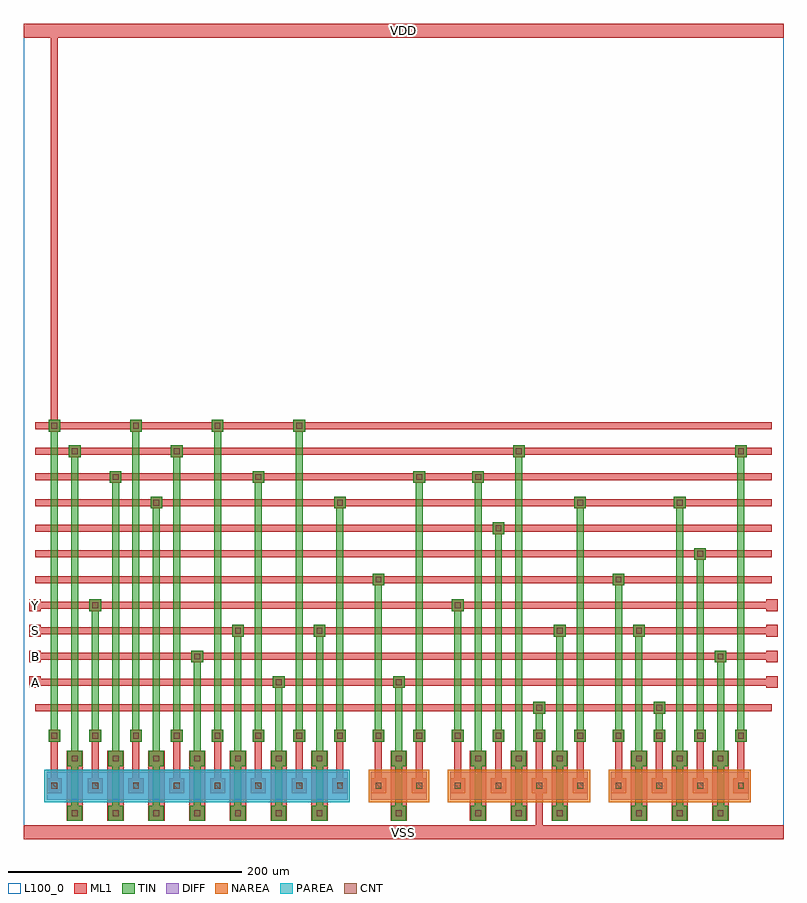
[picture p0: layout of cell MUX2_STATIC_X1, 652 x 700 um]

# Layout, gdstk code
import gdstk
lib = gdstk.Library(unit=1e-6, precision=1e-09)
def R(c, l, rs):  # rectangles x0, y0, x1, y1
    for r in rs: c.add(gdstk.rectangle(r[:2], r[2:], *l))
def A(c, l, x, y, w, h, nx, ny, dx, dy):  # array of equal rectangles
    R(c, l, [(x+i*dx, y+j*dy, x+i*dx+w, y+j*dy+h) for i in range(nx) for j in range(ny)])
DIFF = (3, 0)
TIN = (5, 0)
CNT = (7, 0)
ML1 = (8, 0)
PAREA = (18, 0)
NAREA = (19, 0)
L100_0 = (100, 0)

mux2_static_x1 = lib.new_cell('MUX2_STATIC_X1')
R(mux2_static_x1, DIFF, [(20,34,278,58), (298,34,346,58), (366,34,484,58), (504,34,622,58)])
A(mux2_static_x1, TIN, 37.5, 16, 13, 13, 7, 2, 35, 47)
A(mux2_static_x1, TIN, 383.5, 16, 13, 13, 3, 2, 35, 47)
A(mux2_static_x1, TIN, 521.5, 16, 13, 13, 3, 2, 35, 47)
A(mux2_static_x1, TIN, 41, 28, 6, 37.5, 7, 1, 35, 0)
A(mux2_static_x1, TIN, 387, 28, 6, 37.5, 3, 1, 35, 0)
A(mux2_static_x1, TIN, 525, 28, 6, 37.5, 3, 1, 35, 0)
A(mux2_static_x1, TIN, 21.5, 84, 10, 10, 8, 1, 35, 0)
A(mux2_static_x1, TIN, 367.5, 84, 10, 10, 4, 1, 35, 0)
A(mux2_static_x1, TIN, 505.5, 84, 10, 10, 4, 1, 35, 0)
A(mux2_static_x1, TIN, 23.5, 89, 6, 266, 4, 1, 70, 0)
A(mux2_static_x1, TIN, 21.5, 350, 10, 10, 4, 1, 70, 0)
R(mux2_static_x1, TIN, [(315.5,16,328.5,29), (319,28,325,65.5), (315.5,63,328.5,76), (41,69.5,47,333), (76,69.5,82,311), (111,69.5,117,289), (146,69.5,152,157), (181,69.5,187,179), (216,69.5,222,135), (251,69.5,257,179), (319,69.5,325,135), (387,69.5,393,311), (422,69.5,428,333), (457,69.5,463,179), (525,69.5,531,179), (560,69.5,566,289), (595,69.5,601,157), (299.5,84,309.5,94), (334.5,84,344.5,94), (58.5,89,64.5,201), (128.5,89,134.5,333), (198.5,89,204.5,311), (268.5,89,274.5,289), (301.5,89,307.5,223), (336.5,89,342.5,311), (369.5,89,375.5,201), (404.5,89,410.5,267), (439.5,89,445.5,113), (474.5,89,480.5,289), (507.5,89,513.5,223), (542.5,89,548.5,113), (577.5,89,583.5,245), (612.5,89,618.5,333), (437.5,108,447.5,118), (540.5,108,550.5,118), (214,130,224,140), (317,130,327,140), (144,152,154,162), (593,152,603,162), (179,174,189,184), (249,174,259,184), (455,174,465,184), (523,174,533,184), (56.5,196,66.5,206), (367.5,196,377.5,206), (299.5,218,309.5,228), (505.5,218,515.5,228), (575.5,240,585.5,250), (402.5,262,412.5,272), (109,284,119,294), (266.5,284,276.5,294), (472.5,284,482.5,294), (558,284,568,294), (74,306,84,316), (196.5,306,206.5,316), (334.5,306,344.5,316), (385,306,395,316), (39,328,49,338), (126.5,328,136.5,338), (420,328,430,338), (610.5,328,620.5,338)])
A(mux2_static_x1, CNT, 41.5, 20, 5, 5, 7, 2, 35, 47)
A(mux2_static_x1, CNT, 387.5, 20, 5, 5, 3, 2, 35, 47)
A(mux2_static_x1, CNT, 525.5, 20, 5, 5, 3, 2, 35, 47)
A(mux2_static_x1, CNT, 24, 43.5, 5, 5, 8, 2, 35, 43)
A(mux2_static_x1, CNT, 370, 43.5, 5, 5, 4, 2, 35, 43)
A(mux2_static_x1, CNT, 508, 43.5, 5, 5, 4, 2, 35, 43)
A(mux2_static_x1, CNT, 24, 352.5, 5, 5, 4, 1, 70, 0)
R(mux2_static_x1, CNT, [(319.5,20,324.5,25), (302,43.5,307,48.5), (337,43.5,342,48.5), (319.5,67,324.5,72), (302,86.5,307,91.5), (337,86.5,342,91.5), (440,110.5,445,115.5), (543,110.5,548,115.5), (216.5,132.5,221.5,137.5), (319.5,132.5,324.5,137.5), (146.5,154.5,151.5,159.5), (595.5,154.5,600.5,159.5), (181.5,176.5,186.5,181.5), (251.5,176.5,256.5,181.5), (457.5,176.5,462.5,181.5), (525.5,176.5,530.5,181.5), (59,198.5,64,203.5), (370,198.5,375,203.5), (302,220.5,307,225.5), (508,220.5,513,225.5), (578,242.5,583,247.5), (405,264.5,410,269.5), (111.5,286.5,116.5,291.5), (269,286.5,274,291.5), (475,286.5,480,291.5), (560.5,286.5,565.5,291.5), (76.5,308.5,81.5,313.5), (199,308.5,204,313.5), (337,308.5,342,313.5), (387.5,308.5,392.5,313.5), (41.5,330.5,46.5,335.5), (129,330.5,134,335.5), (422.5,330.5,427.5,335.5), (613,330.5,618,335.5)])
A(mux2_static_x1, ML1, 37, 16, 14, 60, 7, 1, 35, 0)
A(mux2_static_x1, ML1, 37.5, 16, 13, 13, 7, 2, 35, 47)
A(mux2_static_x1, ML1, 383, 16, 14, 60, 3, 1, 35, 0)
A(mux2_static_x1, ML1, 383.5, 16, 13, 13, 3, 2, 35, 47)
A(mux2_static_x1, ML1, 521, 16, 14, 60, 3, 1, 35, 0)
A(mux2_static_x1, ML1, 521.5, 16, 13, 13, 3, 2, 35, 47)
A(mux2_static_x1, ML1, 20, 39.5, 13, 13, 8, 1, 35, 0)
A(mux2_static_x1, ML1, 366, 39.5, 13, 13, 4, 1, 35, 0)
A(mux2_static_x1, ML1, 504, 39.5, 13, 13, 4, 1, 35, 0)
A(mux2_static_x1, ML1, 23.5, 46, 6, 43, 8, 1, 35, 0)
A(mux2_static_x1, ML1, 369.5, 46, 6, 43, 4, 1, 35, 0)
A(mux2_static_x1, ML1, 507.5, 46, 6, 43, 4, 1, 35, 0)
A(mux2_static_x1, ML1, 21.5, 84, 10, 10, 8, 1, 35, 0)
A(mux2_static_x1, ML1, 367.5, 84, 10, 10, 4, 1, 35, 0)
A(mux2_static_x1, ML1, 505.5, 84, 10, 10, 4, 1, 35, 0)
A(mux2_static_x1, ML1, 10, 110, 632, 6, 1, 12, 0, 22)
A(mux2_static_x1, ML1, 5, 130, 10, 10, 1, 4, 0, 22)
A(mux2_static_x1, ML1, 637, 130, 10, 10, 1, 4, 0, 22)
A(mux2_static_x1, ML1, 21.5, 350, 10, 10, 4, 1, 70, 0)
R(mux2_static_x1, ML1, [(0,0,652,12), (439.5,3,445.5,92), (315,16,329,76), (315.5,16,328.5,29), (298,39.5,311,52.5), (333,39.5,346,52.5), (301.5,46,307.5,89), (336.5,46,342.5,89), (315.5,63,328.5,76), (299.5,84,309.5,94), (334.5,84,344.5,94), (437.5,108,447.5,118), (540.5,108,550.5,118), (214,130,224,140), (317,130,327,140), (144,152,154,162), (593,152,603,162), (179,174,189,184), (249,174,259,184), (455,174,465,184), (523,174,533,184), (56.5,196,66.5,206), (367.5,196,377.5,206), (299.5,218,309.5,228), (505.5,218,515.5,228), (575.5,240,585.5,250), (402.5,262,412.5,272), (109,284,119,294), (266.5,284,276.5,294), (472.5,284,482.5,294), (558,284,568,294), (74,306,84,316), (196.5,306,206.5,316), (334.5,306,344.5,316), (385,306,395,316), (39,328,49,338), (126.5,328,136.5,338), (420,328,430,338), (610.5,328,620.5,338), (23.5,352,29.5,697), (0,688,652,700)])
R(mux2_static_x1, PAREA, [(18,32,280,60)])
R(mux2_static_x1, NAREA, [(296,32,348,60), (364,32,486,60), (502,32,624,60)])
R(mux2_static_x1, L100_0, [(0,0,652,700)])
mux2_static_x1.add(gdstk.Label('A', (10,135), layer=13, texttype=0))
mux2_static_x1.add(gdstk.Label('B', (10,157), layer=13, texttype=0))
mux2_static_x1.add(gdstk.Label('S', (10,179), layer=13, texttype=0))
mux2_static_x1.add(gdstk.Label('Y', (10,201), layer=13, texttype=0))
mux2_static_x1.add(gdstk.Label('VDD', (326,694), layer=13, texttype=0))
mux2_static_x1.add(gdstk.Label('VSS', (326,6), layer=13, texttype=0))

lib.write_gds('MUX2_STATIC_X1.gds')
